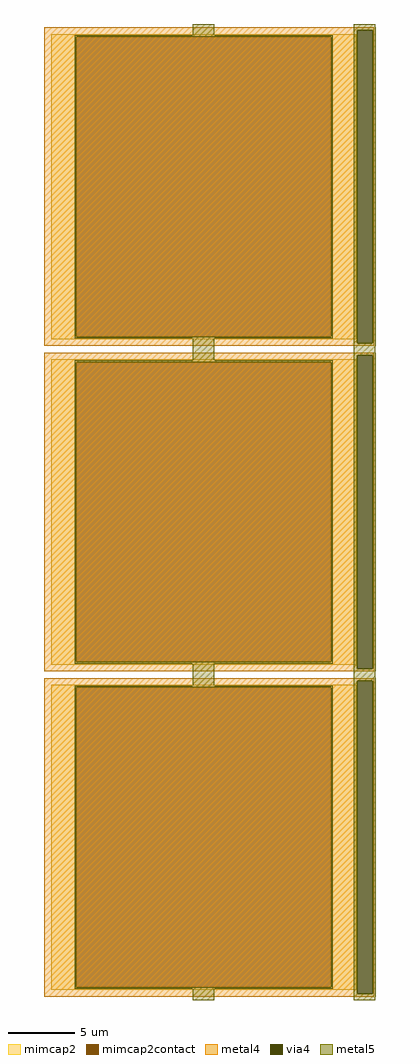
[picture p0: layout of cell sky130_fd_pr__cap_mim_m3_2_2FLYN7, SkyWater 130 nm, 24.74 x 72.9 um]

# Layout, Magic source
magic
tech sky130A
magscale 1 2
<< metal4 >>
rect -2463 7199 2463 7240
rect -2463 2521 2207 7199
rect 2443 2521 2463 7199
rect -2463 2480 2463 2521
rect -2463 2339 2463 2380
rect -2463 -2339 2207 2339
rect 2443 -2339 2463 2339
rect -2463 -2380 2463 -2339
rect -2463 -2521 2463 -2480
rect -2463 -7199 2207 -2521
rect 2443 -7199 2463 -2521
rect -2463 -7240 2463 -7199
<< via4 >>
rect 2207 2521 2443 7199
rect 2207 -2339 2443 2339
rect 2207 -7199 2443 -2521
<< mimcap2 >>
rect -2363 7100 2197 7140
rect -2363 2620 -1987 7100
rect 1821 2620 2197 7100
rect -2363 2580 2197 2620
rect -2363 2240 2197 2280
rect -2363 -2240 -1987 2240
rect 1821 -2240 2197 2240
rect -2363 -2280 2197 -2240
rect -2363 -2620 2197 -2580
rect -2363 -7100 -1987 -2620
rect 1821 -7100 2197 -2620
rect -2363 -7140 2197 -7100
<< mimcap2contact >>
rect -1987 2620 1821 7100
rect -1987 -2240 1821 2240
rect -1987 -7100 1821 -2620
<< metal5 >>
rect -243 7124 77 7290
rect 2157 7241 2477 7290
rect 2157 7199 2485 7241
rect -2011 7100 1845 7124
rect -2011 2620 -1987 7100
rect 1821 2620 1845 7100
rect -2011 2596 1845 2620
rect -243 2264 77 2596
rect 2157 2521 2207 7199
rect 2443 2521 2485 7199
rect 2157 2479 2485 2521
rect 2157 2381 2477 2479
rect 2157 2339 2485 2381
rect -2011 2240 1845 2264
rect -2011 -2240 -1987 2240
rect 1821 -2240 1845 2240
rect -2011 -2264 1845 -2240
rect -243 -2596 77 -2264
rect 2157 -2339 2207 2339
rect 2443 -2339 2485 2339
rect 2157 -2381 2485 -2339
rect 2157 -2479 2477 -2381
rect 2157 -2521 2485 -2479
rect -2011 -2620 1845 -2596
rect -2011 -7100 -1987 -2620
rect 1821 -7100 1845 -2620
rect -2011 -7124 1845 -7100
rect -243 -7290 77 -7124
rect 2157 -7199 2207 -2521
rect 2443 -7199 2485 -2521
rect 2157 -7241 2485 -7199
rect 2157 -7290 2477 -7241
<< properties >>
string gencell sky130_fd_pr__cap_mim_m3_2
string FIXED_BBOX -2463 2480 2297 7240
string parameters w 22.8 l 22.8 val 1.057k carea 2.00 cperi 0.19 nx 1 ny 3 dummy 0 square 0 lmin 2.00 wmin 2.00 lmax 30.0 wmax 30.0 dc 0 bconnect 1 tconnect 1 ccov 85
string library sky130
<< end >>
